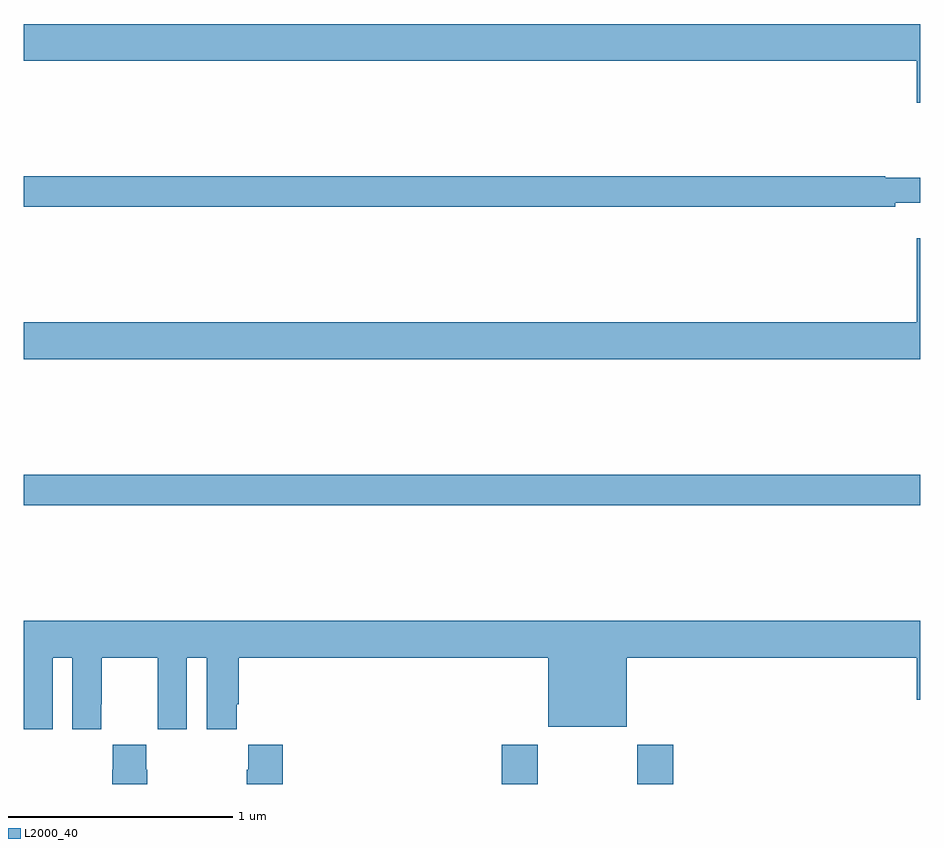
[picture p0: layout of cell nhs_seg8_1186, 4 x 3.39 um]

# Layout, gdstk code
import gdstk
lib = gdstk.Library(unit=1e-6, precision=1e-09)
def R(c, l, rs):  # rectangles x0, y0, x1, y1
    for r in rs: c.add(gdstk.rectangle(r[:2], r[2:], *l))
def P(c, l, *ps):  # polygons
    for p in ps: c.add(gdstk.Polygon(p, *l))
L2000_40 = (2000, 40)

nhs_seg8_1186 = lib.new_cell('nhs_seg8_1186')
R(nhs_seg8_1186, L2000_40, [(187.133,1151.9,187.293,1152.076), (187.738,1151.9,187.898,1152.076), (185,1153.144,189,1153.28)])
P(nhs_seg8_1186, L2000_40, [(189,1155.292),(185,1155.292),(185,1155.128),(188.984,1155.128),(188.984,1154.94),(189,1154.94)],
  [(188.888,1154.495),(189,1154.495),(189,1154.605),(188.845,1154.605),(188.845,1154.612),(185,1154.612),(185,1154.476),(188.888,1154.476)],
  [(189,1154.335),(188.984,1154.335),(188.984,1153.96),(185,1153.96),(185,1153.796),(189,1153.796)],
  [(185.128,1152.464),(185.216,1152.464),(185.216,1152.144),(185.346,1152.144),(185.346,1152.256),(185.347,1152.256),(185.347,1152.464),(185.597,1152.464),(185.597,1152.256),(185.598,1152.256),(185.598,1152.144),(185.728,1152.144),(185.728,1152.464),(185.816,1152.464),(185.816,1152.144),(185.95,1152.144),(185.95,1152.256),(185.96,1152.256),(185.96,1152.464),(187.34,1152.464),(187.34,1152.155),(187.69,1152.155),(187.69,1152.464),(188.984,1152.464),(188.984,1152.276),(189,1152.276),(189,1152.628),(185,1152.628),(185,1152.144),(185.128,1152.144)],
  [(186.155,1152.076),(186.001,1152.076),(186.001,1151.963),(185.995,1151.963),(185.995,1151.9),(186.155,1151.9)],
  [(185.55,1151.963),(185.547,1151.963),(185.547,1152.076),(185.397,1152.076),(185.397,1151.963),(185.395,1151.963),(185.395,1151.9),(185.55,1151.9)])

lib.write_gds('nhs_seg8_1186.gds')
